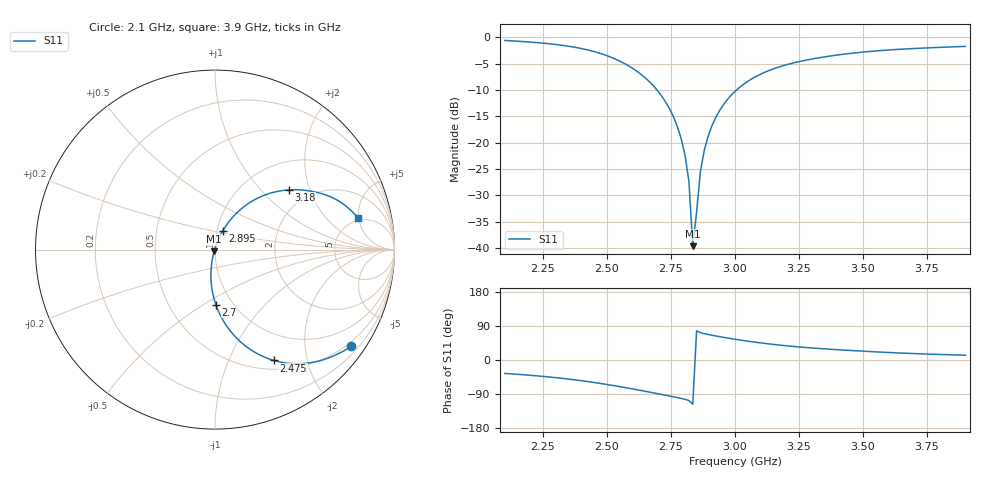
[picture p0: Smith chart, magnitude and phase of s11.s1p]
! NobuRF balanis-4.6-half-wave-dipole: port "feed", 19400 steps
# GHz S RI R 73
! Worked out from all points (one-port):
!   121 points, 2.1 GHz to 3.9 GHz, reference 73 ohm
!   lowest |S11| = -39.6 dB at 2.835 GHz (marker M1), VSWR 1.02, Z = 72.3 - j1.35 ohm
!   |S11| at or under -10 dB: 2.695 GHz to 3.006 GHz (311.4 MHz wide, 10.9 % of centre)
!   S11 on the Smith chart (normalised r, x): 2.1 GHz: 0.39, -3.09; 2.475 GHz: 0.61, -1.48; 2.7 GHz: 0.84, -0.56; 2.895 GHz: 1.07, +0.23; 3.18 GHz: 1.58, +1.46; 3.9 GHz: 4.60, +4.91
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2.1  0.7588 -0.5385
2.22  0.6669 -0.5894
2.325  0.5553 -0.6261
2.4  0.451 -0.6361
2.475  0.3284 -0.6177
2.55  0.1993 -0.5581
2.64  0.0645 -0.4253
2.7  0.00453 -0.306
2.745  -0.0187 -0.2072
2.775  -0.0229 -0.1399
2.79  -0.0216 -0.1065
2.805  -0.0181 -0.0734
2.82  -0.0124 -0.041
2.835  -0.0047 -0.00933
2.85  0.00497 0.0214
2.865  0.0165 0.0509
2.88  0.0296 0.0793
2.895  0.0444 0.1062
2.91  0.0604 0.1317
2.94  0.0961 0.1778
2.97  0.1352 0.2174
3  0.1764 0.2503
3.075  0.2809 0.3054
3.18  0.4117 0.3326
3.225  0.4591 0.3333
3.45  0.6344 0.298
3.675  0.7386 0.2346
3.9  0.7981 0.1771
